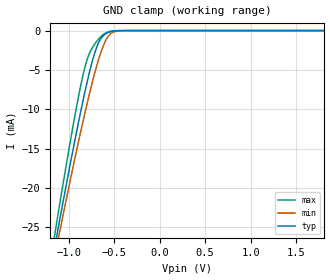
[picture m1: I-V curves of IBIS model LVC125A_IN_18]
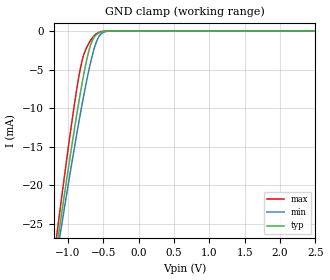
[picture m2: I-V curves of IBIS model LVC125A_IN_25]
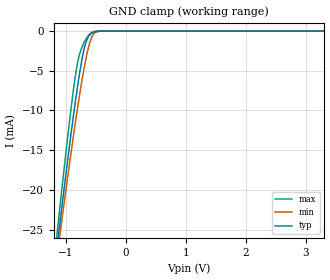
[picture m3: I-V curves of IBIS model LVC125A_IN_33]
| TEXAS INSTRUMENTS INCORPORATED
| Standard Linear and Logic Group
| IBIS Model of SN74LVC125A
| QUADRUPLE BUS BUFFER GATE WITH 3-STATE OUTPUTS
| This file contains package information for the following:
|  SOIC 14-pin (D) package as [Component] LVC125A_D
|  SSOP 14-pin (DB) package as [Component] LVC125A_DB
|  SOP 14-pin (NS) package as [Component] LVC125A_NS
|  TSSOP 14-pin (PW) package as [Component] LVC125A_PW
| This device can be powered at the following Vccs:
|  1.8 volt Vcc
|  2.5 volt Vcc
|  3.3 volt Vcc
| This file provides unique models under the [Model Selector] for each Vcc.
| For operation at a specific Vcc, select the appropriate model after each
| [Model Selector] keyword.
[IBIS Ver]   3.2
[Comment char]  |_char
[File Name]   sn74lvc125a.ibs
[File Rev]   1.1 | k_die
[Date]   May 23, 2002
[Source]   Data created from TI-SPICE simulations at TI-SLL.
[Notes]   The following is an IBIS list for the LVC125A.
   Please contact sllibis@ti.com with questions and
   comments concerning SLL IBIS models.
[Disclaimer] Property of Texas Instruments Incorporated.  Unauthorized
                reproduction and/or distribution is strictly prohibited.
                This product is protected under copyright law.
                Created  2002, (C) Copyright  2002, Texas Instruments
                Incorporated, All Rights Reserved
                UNLESS THERE IS A SIGNED, WRITTEN AGREEMENT TO THE
                CONTRARY, TEXAS INSTRUMENTS (TI) IS PROVIDING THE IBIS
                MODELS  AND WITHOUT ANY WARRANTY, EXPRESSED OR
                IMPLIED.  TI assumes no liability for:
                 1) the accuracy of the IBIS models provided to your
                    company;
                 2) the proper functioning of these IBIS Models in your
                    design or for any resulting applications; or
                 3) infringement of patents, copyrights or intellectual
                    property rights resulting from your use of these IBIS
                    models.
                TI provides IBIS Models as a service to our customers.
                You and your company shall not distribute, sell or give
                these models to anyone else without prior written
                permission from TI.
                TI reserves the right to make changes to our products or
                to discontinue any semiconductor product or service
                without notice, and advises our customers to obtain the
                latest version of relevant information to verify, before
                placing orders, that the information being relied on is
                current.
                Please be aware that your receipt and use of the IBIS
                information provided shall serve as acceptance of these
                terms and conditions.  If you do not accept these terms,
                you should return or destroy the IBIS models and any
                other accompanying information immediately.
| Component LVC125A_D 14-pin SOIC
[Component]   LVC125A_D
[Manufacturer]   Texas Instruments, Inc.
[Package]
|   typ   min   max
R_pkg   3.100e-02   2.800e-02   3.400e-02
L_pkg   3.109e-09   2.462e-09   3.889e-09
C_pkg   4.730e-13   3.630e-13   6.280e-13
[Pin]   signal_name   model_name   R_pin   L_pin   C_pin
1   1NOE   LVC125A_IN   3.300e-02   3.854e-09   6.220e-13
2   1A   LVC125A_IN   3.200e-02   3.188e-09   4.730e-13
3   1Y   LVC125A_OUT   2.800e-02   2.462e-09   3.770e-13
4   2NOE   LVC125A_IN   3.100e-02   2.596e-09   3.630e-13
5   2A   LVC125A_IN   2.800e-02   2.521e-09   3.720e-13
6   2Y   LVC125A_OUT   3.400e-02   3.250e-09   4.760e-13
7   GND   GND   3.400e-02   3.889e-09   6.280e-13
8   3Y   LVC125A_OUT   3.400e-02   3.889e-09   6.280e-13
9   3A   LVC125A_IN   3.400e-02   3.250e-09   4.760e-13
10   3NOE   LVC125A_IN   2.800e-02   2.521e-09   3.720e-13
11   4Y   LVC125A_OUT   3.100e-02   2.596e-09   3.640e-13
12   4A   LVC125A_IN   2.800e-02   2.462e-09   3.770e-13
13   4NOE   LVC125A_IN   3.200e-02   3.188e-09   4.730e-13
14   VCC   POWER   3.300e-02   3.854e-09   6.220e-13
| Component LVC125A_DB 14-pin SSOP
[Component]   LVC125A_DB
[Manufacturer]   Texas Instruments, Inc.
[Package]
|   typ   min   max
R_pkg   4.400e-02   4.100e-02   4.600e-02
L_pkg   3.551e-09   3.258e-09   3.927e-09
C_pkg   4.020e-13   3.600e-13   4.210e-13
[Pin]   signal_name   model_name   R_pin   L_pin   C_pin
1   1NOE   LVC125A_IN   4.600e-02   3.927e-09   4.080e-13
2   1A   LVC125A_IN   4.400e-02   3.587e-09   4.210e-13
3   1Y   LVC125A_OUT   4.100e-02   3.289e-09   3.980e-13
4   2NOE   LVC125A_IN   4.200e-02   3.258e-09   3.600e-13
5   2A   LVC125A_IN   4.100e-02   3.286e-09   4.030e-13
6   2Y   LVC125A_OUT   4.400e-02   3.586e-09   4.210e-13
7   GND   GND   4.600e-02   3.927e-09   4.080e-13
8   3Y   LVC125A_OUT   4.600e-02   3.927e-09   4.080e-13
9   3A   LVC125A_IN   4.400e-02   3.586e-09   4.210e-13
10   3NOE   LVC125A_IN   4.100e-02   3.286e-09   4.030e-13
11   4Y   LVC125A_OUT   4.300e-02   3.258e-09   3.600e-13
12   4A   LVC125A_IN   4.100e-02   3.289e-09   3.980e-13
13   4NOE   LVC125A_IN   4.400e-02   3.587e-09   4.210e-13
14   VCC   POWER   4.600e-02   3.927e-09   4.080e-13
| Component LVC125A_NS 14-pin SOP
[Component]   LVC125A_NS
[Manufacturer]   Texas Instruments, Inc.
[Package]
|   typ   min   max
R_pkg   4.500e-02   3.900e-02   5.400e-02
L_pkg   3.796e-09   2.561e-09   4.952e-09
C_pkg   5.280e-13   2.880e-13   7.100e-13
[Pin]   signal_name   model_name   R_pin   L_pin   C_pin
1   1NOE   LVC125A_IN   4.700e-02   4.867e-09   7.060e-13
2   1A   LVC125A_IN   5.100e-02   4.083e-09   5.920e-13
3   1Y   LVC125A_OUT   4.100e-02   2.915e-09   3.760e-13
4   2NOE   LVC125A_IN   3.900e-02   2.561e-09   2.880e-13
5   2A   LVC125A_IN   4.100e-02   3.101e-09   4.300e-13
6   2Y   LVC125A_OUT   4.700e-02   4.047e-09   5.890e-13
7   GND   GND   5.100e-02   4.909e-09   7.000e-13
8   3Y   LVC125A_OUT   4.500e-02   4.784e-09   6.940e-13
9   3A   LVC125A_IN   5.400e-02   4.176e-09   5.970e-13
10   3NOE   LVC125A_IN   3.900e-02   3.287e-09   4.490e-13
11   4Y   LVC125A_OUT   3.900e-02   2.586e-09   2.940e-13
12   4A   LVC125A_IN   4.000e-02   2.802e-09   3.710e-13
13   4NOE   LVC125A_IN   4.900e-02   4.080e-09   5.930e-13
14   VCC   POWER   5.200e-02   4.952e-09   7.100e-13
| Component LVC125A_PW 14-pin TSSOP
[Component]   LVC125A_PW
[Manufacturer]   Texas Instruments, Inc.
[Package]
|   typ   min   max
R_pkg   3.200e-02   2.900e-02   3.500e-02
L_pkg   2.378e-09   2.170e-09   2.680e-09
C_pkg   3.140e-13   2.700e-13   3.350e-13
[Pin]   signal_name   model_name   R_pin   L_pin   C_pin
1   1NOE   LVC125A_IN   3.300e-02   2.618e-09   3.300e-13
2   1A   LVC125A_IN   3.100e-02   2.313e-09   3.170e-13
3   1Y   LVC125A_OUT   3.000e-02   2.310e-09   3.140e-13
4   2NOE   LVC125A_IN   3.100e-02   2.173e-09   2.720e-13
5   2A   LVC125A_IN   3.000e-02   2.204e-09   3.090e-13
6   2Y   LVC125A_OUT   3.200e-02   2.315e-09   3.170e-13
7   GND   GND   3.500e-02   2.680e-09   3.350e-13
8   3Y   LVC125A_OUT   3.300e-02   2.640e-09   3.330e-13
9   3A   LVC125A_IN   3.400e-02   2.347e-09   3.190e-13
10   3NOE   LVC125A_IN   2.900e-02   2.277e-09   3.130e-13
11   4Y   LVC125A_OUT   3.100e-02   2.170e-09   2.700e-13
12   4A   LVC125A_IN   3.100e-02   2.244e-09   3.110e-13
13   4NOE   LVC125A_IN   3.300e-02   2.343e-09   3.210e-13
14   VCC   POWER   3.500e-02   2.657e-09   3.320e-13
| Model LVC125A_IN
[Model Selector]   LVC125A_IN
LVC125A_IN_18   1.8 volt Vcc
LVC125A_IN_25   2.5 volt Vcc
LVC125A_IN_33   3.3 volt Vcc
| Model LVC125A_OUT
[Model Selector]   LVC125A_OUT
LVC125A_OUT_18   1.8 volt Vcc
LVC125A_OUT_25   2.5 volt Vcc
LVC125A_OUT_33   3.3 volt Vcc
| Models and submodels in the file (6): LVC125A_IN_18 (Input), LVC125A_IN_25 (Input), LVC125A_IN_33 (Input), LVC125A_OUT_18 (3-state), LVC125A_OUT_25 (3-state), LVC125A_OUT_33 (3-state)
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[Model]   LVC125A_IN_18
Model_type  Input
Vinl=0.5775
Vinh=1.2675
| variable   typ   min   max
C_comp   2.66pF   2.19pF   3.17pF
[Temperature Range]   40   100   -40
| Ambient temperature   25   85   -40
[Voltage range]   1.8   1.65   1.95
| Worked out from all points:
|   GND clamp passes 1 mA (typ) near -0.64 V on its own axis
[GND Clamp]
| LVC125A_IN_18
|   Voltage   I(typ)   I(min)   I(max)
-5.5V     -338.9mA   -314.3mA   -369mA
-1.16V    -28.09mA   -29.24mA   -26.56mA
-1.12V    -25.56mA   -26.92mA   -23.71mA
-1.085V   -23.36mA   -24.91mA   -21.25mA
-925mV    -13.65mA   -15.98mA   -10.52mA
-820mV    -7.797mA   -10.48mA   -4.654mA
-770mV    -5.293mA   -8.026mA   -2.891mA
-695mV    -2.253mA   -4.666mA   -1.432mA
-600mV    -473.7uA   -1.449mA   -358.4uA
-535mV    -136.2uA   -379.8uA   -78.5uA
-445mV    -16.2uA    -36.49uA   -4.833uA
1.8V      41.95pA    147.4pA    23.47pA
[Model]   LVC125A_IN_25
Model_type  Input
Vinl=0.7
Vinh=1.7
| variable   typ   min   max
C_comp   2.58pF   2.03pF   3.24pF
[Temperature Range]   40   100   -40
| Ambient temperature   25   85   -40
[Voltage range]   2.5   2.3   2.7
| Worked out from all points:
|   GND clamp passes 1 mA (typ) near -0.64 V on its own axis
[GND Clamp]
| LVC125A_IN_25
|   Voltage   I(typ)   I(min)   I(max)
-5.5V     -338.9mA   -314.3mA   -369mA
-1.17V    -28.73mA   -29.82mA   -27.27mA
-1.13V    -26.19mA   -27.5mA    -24.42mA
-1.095V   -23.98mA   -25.48mA   -21.95mA
-925mV    -13.65mA   -15.98mA   -10.52mA
-825mV    -8.06mA    -10.74mA   -4.88mA
-775mV    -5.531mA   -8.266mA   -3.027mA
-700mV    -2.416mA   -4.874mA   -1.51mA
-590mV    -396.4uA   -1.217mA   -293.2uA
-515mV    -88.16uA   -231.8uA   -44.89uA
-395mV    -4.232uA   -9.445uA   -775nA
2.5V      57.25pA    176.8pA    32.61pA
[Model]   LVC125A_IN_33
Model_type  Input
Vinl=0.8
Vinh=2.0
| variable   typ   min   max
C_comp   2.50pF   1.92pF   3.16pF
[Temperature Range]   40   100   -40
| Ambient temperature   25   85   -40
[Voltage range]   3.3   3   3.6
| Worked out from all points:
|   GND clamp passes 1 mA (typ) near -0.64 V on its own axis
[GND Clamp]
| LVC125A_IN_33
|   Voltage   I(typ)   I(min)   I(max)
-5.5V     -338.9mA   -314.3mA   -369mA
-1.14V    -26.82mA   -28.07mA   -25.13mA
-1.105V   -24.61mA   -26.05mA   -22.65mA
-1.075V   -22.73mA   -24.34mA   -20.55mA
-915mV    -13.07mA   -15.45mA   -9.893mA
-860mV    -9.954mA   -12.53mA   -6.658mA
-805mV    -7.019mA   -9.733mA   -4.027mA
-730mV    -3.528mA   -6.174mA   -2.02mA
-665mV    -1.428mA   -3.486mA   -1.009mA
-585mV    -362.1uA   -1.111mA   -263.9uA
-510mV    -78.77uA   -204.1uA   -38.82uA
3.3V      76.2pA     212.8pA    43.07pA
